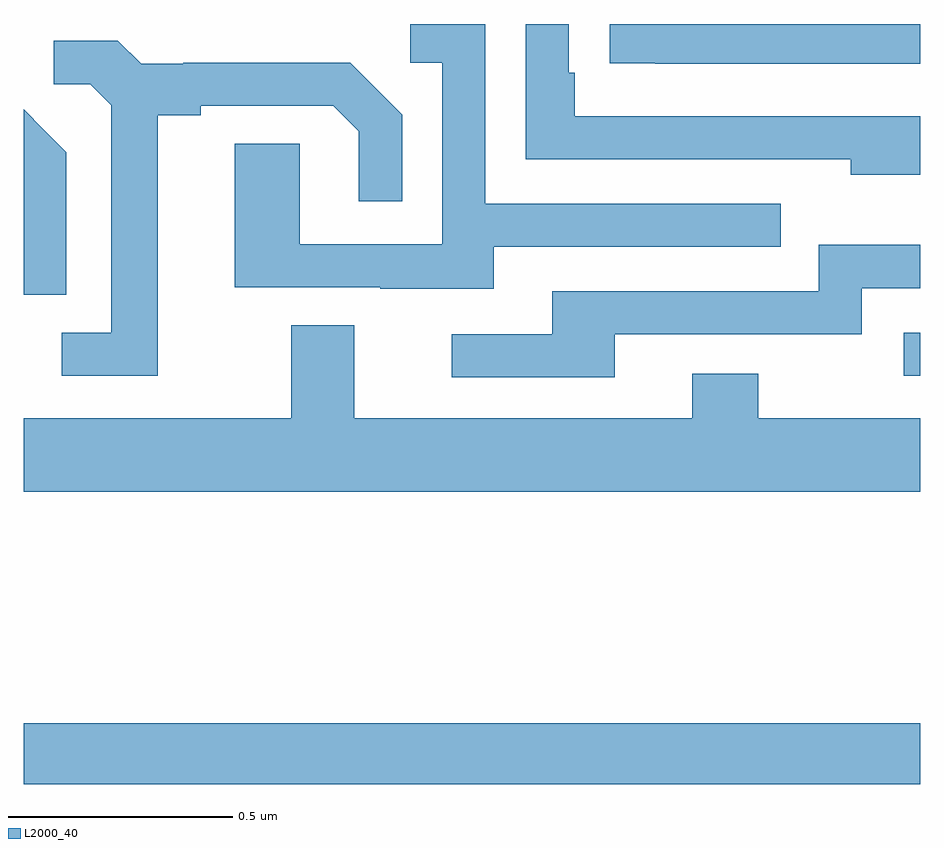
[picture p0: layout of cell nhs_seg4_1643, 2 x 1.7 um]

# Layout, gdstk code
import gdstk
lib = gdstk.Library(unit=1e-6, precision=1e-09)
def R(c, l, rs):  # rectangles x0, y0, x1, y1
    for r in rs: c.add(gdstk.rectangle(r[:2], r[2:], *l))
def P(c, l, *ps):  # polygons
    for p in ps: c.add(gdstk.Polygon(p, *l))
L2000_40 = (2000, 40)

nhs_seg4_1643 = lib.new_cell('nhs_seg4_1643')
R(nhs_seg4_1643, L2000_40, [(131,760.204,133,760.34), (132.963,761.115,133,761.211)])
P(nhs_seg4_1643, L2000_40, [(132.049,761.403),(132.689,761.403),(132.689,761.499),(132.03,761.499),(132.03,761.9),(131.862,761.9),(131.862,761.814),(131.934,761.814),(131.934,761.409),(131.616,761.409),(131.616,761.633),(131.471,761.633),(131.471,761.313),(131.795,761.313),(131.795,761.309),(132.049,761.309)],
  [(133,761.694),(132.229,761.694),(132.229,761.791),(132.216,761.791),(132.216,761.9),(132.12,761.9),(132.12,761.598),(132.845,761.598),(132.845,761.564),(133,761.564)],
  [(133,761.9),(132.307,761.9),(132.307,761.812),(132.409,761.812),(132.409,761.811),(133,761.811)],
  [(131.299,761.696),(131.395,761.696),(131.395,761.718),(131.69,761.718),(131.747,761.661),(131.747,761.505),(131.844,761.505),(131.844,761.698),(131.728,761.814),(131.356,761.814),(131.356,761.811),(131.262,761.811),(131.21,761.863),(131.067,761.863),(131.067,761.766),(131.148,761.766),(131.195,761.719),(131.195,761.211),(131.085,761.211),(131.085,761.115),(131.299,761.115)],
  [(131.094,761.614),(131.021,761.687),(131.022,761.688),(131,761.71),(131,761.296),(131.094,761.296)],
  [(132.319,761.208),(132.87,761.208),(132.87,761.31),(133,761.31),(133,761.407),(132.774,761.407),(132.774,761.304),(132.179,761.304),(132.179,761.208),(131.955,761.208),(131.955,761.112),(132.319,761.112)],
  [(133,761.02),(132.639,761.02),(132.639,761.119),(132.491,761.119),(132.491,761.02),(131.737,761.02),(131.737,761.228),(131.597,761.228),(131.597,761.02),(131,761.02),(131,760.856),(133,760.856)])

lib.write_gds('nhs_seg4_1643.gds')
